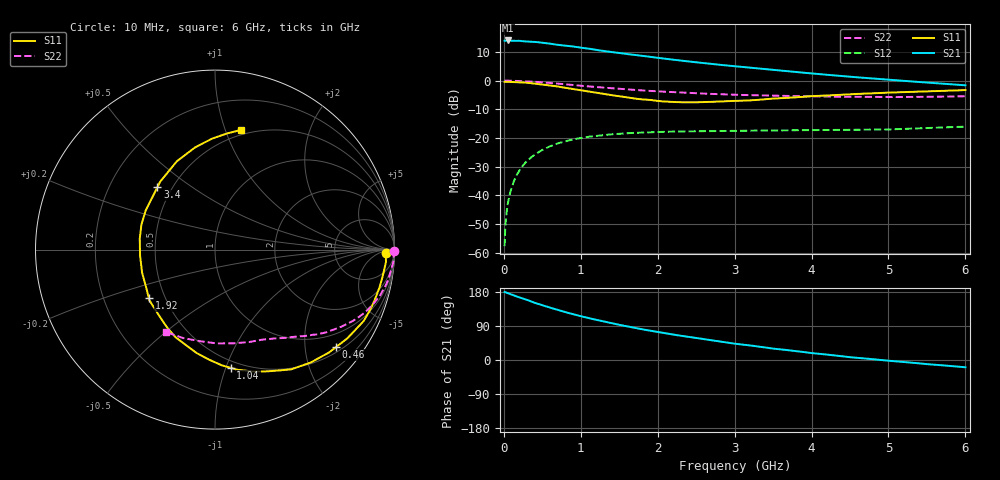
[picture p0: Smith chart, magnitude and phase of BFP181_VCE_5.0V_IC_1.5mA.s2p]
! Infineon Technologies  Discrete & RF Semiconductors
! BFP181
! VCE = 5.0 V,  IC =  1.5 mA
! Common Emitter S-Parameters:  Jan 2016
# GHz  S  MA  R  50
!  f  S11  S21  S12  S22
! GHz  MAG  ANG  MAG  ANG  MAG  ANG  MAG  ANG
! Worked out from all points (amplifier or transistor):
!   210 points, 10 MHz to 6 GHz, reference 50 ohm
!   highest |S21| = 14.0 dB at 50 MHz (marker M1)
!   |S21| within 3 dB of that: start of sweep to 1.136 GHz
!   unconditionally stable (mu >= 1): 2.786 GHz to end of sweep
!   at 185 MHz: K = 0.08, MSG = 23.0 dB, |S12| = -32.0 dB
!   at 1.52 GHz: K = 0.60, MSG = 14.0 dB, |S12| = -18.5 dB
!   at 6 GHz: K = 1.21, MAG = 4.5 dB, |S12| = -16.0 dB
!   S11 on the Smith chart (normalised r, x): 10 MHz: 36, -13; 460 MHz: 0.62, -2.71; 1.04 GHz: 0.44, -1.04; 1.92 GHz: 0.41, -0.28; 3.4 GHz: 0.42, +0.37; 6 GHz: 0.45, +1.14
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0.01  0.9524 -1.0  4.986 179.4  0.0013 84.8  0.997 -0.3
0.015  0.952 -1.3  4.967 179.2  0.0021 81.3  0.9984 -0.6
0.025  0.9521 -2.1  4.958 178.5  0.0036 83.2  0.9991 -1.0
0.05  0.955 -4.1  5.015 176.3  0.007 90.5  0.9956 -2.0
0.11  0.945 -9.6  4.949 172.0  0.0148 82.3  0.9945 -4.4
0.19  0.9344 -16.4  4.947 166.0  0.0257 79.9  0.9857 -7.5
0.4  0.888 -33.8  4.75 151.0  0.0511 68.8  0.9553 -15.4
0.46  0.866 -38.8  4.638 147.0  0.0575 65.3  0.9418 -17.4
0.6  0.8248 -49.7  4.412 138.2  0.0717 59.1  0.9109 -22.0
0.8  0.749 -64.7  4.09 126.2  0.0876 51.3  0.8644 -27.4
1.02  0.6725 -81.0  3.725 114.6  0.1009 43.3  0.8105 -32.7
1.04  0.6651 -82.4  3.697 113.6  0.1019 42.7  0.8061 -33.1
1.3  0.5858 -100.0  3.285 101.5  0.1125 35.6  0.7548 -38.2
1.5  0.5355 -114.2  3.044 92.9  0.1185 31.1  0.7196 -41.3
1.92  0.4576 -143.6  2.584 76.8  0.126 23.9  0.6593 -47.4
2.02  0.44 -150.0  2.479 73.4  0.1274 22.6  0.6486 -48.7
2.58  0.4223 173.0  2.034 55.6  0.1317 16.4  0.5948 -56.3
3.1  0.4468 145.8  1.73 40.8  0.1335 12.5  0.5625 -63.7
3.4  0.4727 132.8  1.579 33.0  0.135 11.0  0.5517 -68.2
4.1  0.5427 110.8  1.301 16.4  0.1373 8.4  0.529 -80.9
5.1  0.624 90.0  1.014 -3.5  0.1424 7.4  0.517 -101.3
6  0.6837 77.6  0.829 -19.2  0.1578 6.7  0.5343 -120.6
